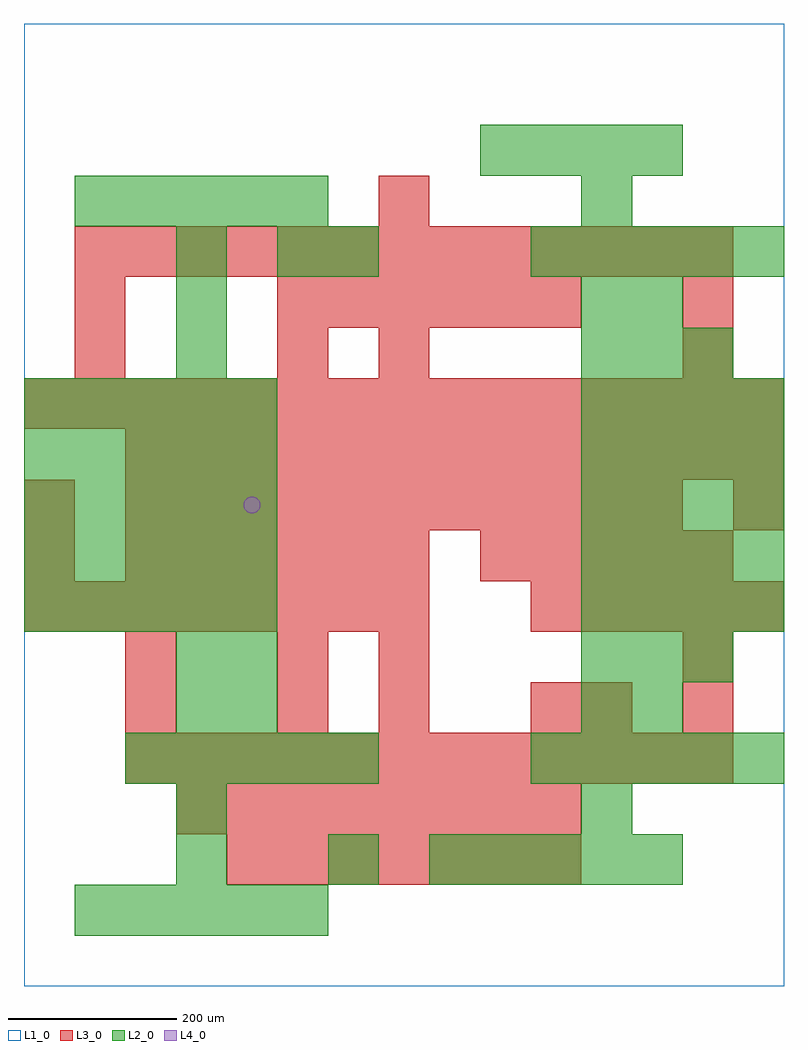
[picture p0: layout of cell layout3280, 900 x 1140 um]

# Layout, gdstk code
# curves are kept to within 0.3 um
import gdstk
lib = gdstk.Library(unit=1e-6, precision=1e-09)
def R(c, l, rs):  # rectangles x0, y0, x1, y1
    for r in rs: c.add(gdstk.rectangle(r[:2], r[2:], *l))
def A(c, l, x, y, w, h, nx, ny, dx, dy):  # array of equal rectangles
    R(c, l, [(x+i*dx, y+j*dy, x+i*dx+w, y+j*dy+h) for i in range(nx) for j in range(ny)])
def P(c, l, *ps):  # polygons
    for p in ps: c.add(gdstk.Polygon(p, *l))
L1_0 = (1, 0)
L2_0 = (2, 0)
L3_0 = (3, 0)
L4_0 = (4, 0)

layout3280 = lib.new_cell('layout3280')
R(layout3280, L1_0, [(0,0,900,1140)])
A(layout3280, L2_0, 60, 60, 60, 60, 5, 2, 60, 840)
A(layout3280, L2_0, 480, 120, 60, 60, 5, 1, 60, 0)
A(layout3280, L2_0, 120, 240, 60, 60, 5, 1, 60, 0)
A(layout3280, L2_0, 600, 240, 60, 60, 5, 2, 60, 600)
A(layout3280, L2_0, 660, 360, 60, 60, 3, 2, 60, 360)
A(layout3280, L2_0, 0, 420, 60, 60, 5, 5, 60, 60)
A(layout3280, L2_0, 660, 420, 60, 60, 4, 5, 60, 60)
A(layout3280, L2_0, 180, 720, 60, 60, 1, 3, 0, 60)
A(layout3280, L2_0, 540, 960, 60, 60, 4, 1, 60, 0)
R(layout3280, L2_0, [(180,120,240,180), (360,120,420,180), (180,180,240,240), (660,180,720,240), (180,300,240,360), (240,300,300,360), (660,300,720,360), (720,300,780,360), (180,360,240,420), (240,360,300,420), (660,780,720,840), (720,780,780,840), (300,840,360,900), (360,840,420,900), (660,900,720,960)])
A(layout3280, L3_0, 240, 120, 60, 60, 7, 1, 60, 0)
A(layout3280, L3_0, 180, 180, 60, 60, 8, 1, 60, 0)
A(layout3280, L3_0, 120, 240, 60, 60, 12, 1, 60, 0)
A(layout3280, L3_0, 0, 420, 60, 60, 8, 1, 60, 0)
A(layout3280, L3_0, 600, 420, 60, 60, 5, 1, 60, 0)
A(layout3280, L3_0, 120, 480, 60, 60, 6, 1, 60, 0)
A(layout3280, L3_0, 540, 480, 60, 60, 5, 1, 60, 0)
A(layout3280, L3_0, 120, 540, 60, 60, 11, 1, 60, 0)
A(layout3280, L3_0, 120, 600, 60, 60, 13, 1, 60, 0)
A(layout3280, L3_0, 0, 660, 60, 60, 15, 1, 60, 0)
A(layout3280, L3_0, 300, 780, 60, 60, 6, 1, 60, 0)
A(layout3280, L3_0, 60, 840, 60, 60, 13, 1, 60, 0)
R(layout3280, L3_0, [(120,300,180,360), (300,300,360,360), (420,300,480,360), (600,300,660,360), (660,300,720,360), (780,300,840,360), (120,360,180,420), (300,360,360,420), (420,360,480,420), (780,360,840,420), (0,480,60,540), (0,540,60,600), (840,540,900,600), (60,720,120,780), (300,720,360,780), (420,720,480,780), (780,720,840,780), (60,780,120,840), (780,780,840,840), (420,900,480,960)])
P(layout3280, L4_0, [(280,570),(279.239,573.827),(277.071,577.071),(273.827,579.239),(270,580),(266.173,579.239),(262.929,577.071),(260.761,573.827),(260,570),(260.761,566.173),(262.929,562.929),(266.173,560.761),(270,560),(273.827,560.761),(277.071,562.929),(279.239,566.173)])

lib.write_gds('layout3280.gds')
